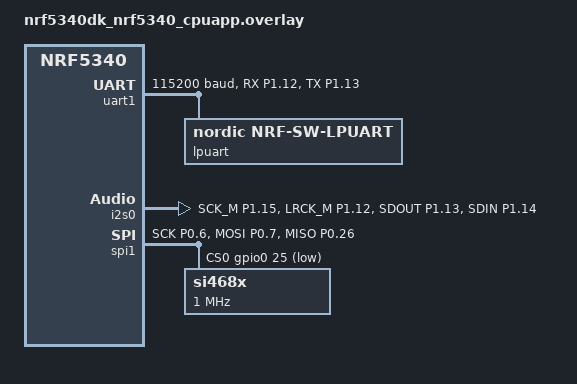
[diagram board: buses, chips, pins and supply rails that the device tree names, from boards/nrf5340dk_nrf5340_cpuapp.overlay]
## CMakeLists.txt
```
cmake_minimum_required(VERSION 3.21)

list(APPEND EXTRA_ZEPHYR_MODULES
  ${CMAKE_CURRENT_SOURCE_DIR}/../si468x_driver_module
)

find_package(Zephyr REQUIRED HINTS $ENV{ZEPHYR_BASE})
project(dab_ble_radio LANGUAGES C)

target_sources(app PRIVATE src/main.c)
```

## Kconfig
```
menu "Zephyr"
source "Kconfig.zephyr"
endmenu

config RADIO
    bool "Enable the use of radio modules"

# module = APP
# module-str = APP
# source "subsys/logging/Kconfig.template.log_config"
```

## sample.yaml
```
sample:
  description: Low Power UART sample
  name: Low Power UART

common:
  tags: ci_build sysbuild ci_samples_peripheral_lpuart

tests:
  sample.peripheral.lpuart:
    sysbuild: true
    platform_allow:
      - nrf52dk/nrf52832
      - nrf52833dk/nrf52833
      - nrf52840dk/nrf52840
      - nrf9160dk/nrf9160/ns
      - nrf5340dk/nrf5340/cpuapp
      - nrf21540dk/nrf52840
      - nrf54l15dk/nrf54l15/cpuapp
    integration_platforms:
      - nrf52dk/nrf52832
      - nrf52833dk/nrf52833
      - nrf52840dk/nrf52840
      - nrf9160dk/nrf9160/ns
      - nrf5340dk/nrf5340/cpuapp
      - nrf21540dk/nrf52840
      - nrf54l15dk/nrf54l15/cpuapp
    platform_exclude: native_sim
    tags: ppk_power_measure
    harness: pytest
    harness_config:
      fixture: gpio_loopback
      pytest_root:
        - "${CUSTOM_ROOT_TEST_DIR}/test_measure_power_consumption.py::test_measure_and_data_dump_power_consumption_lpuart"
    timeout: 90
  sample.peripheral.lpuart.debug:
    sysbuild: true
    platform_allow:
      - nrf52833dk/nrf52833
      - nrf52840dk/nrf52840
      - nrf9160dk/nrf9160/ns
      - nrf5340dk/nrf5340/cpuapp
      - nrf21540dk/nrf52840
      - nrf54l15dk/nrf54l15/cpuapp
    integration_platforms:
      - nrf52840dk/nrf52840
    extra_configs:
      - CONFIG_ASSERT=n
      - CONFIG_CONSOLE=n
      - CONFIG_UART_CONSOLE=n
      - CONFIG_LOG=n
      - CONFIG_NRF_SW_LPUART_LOG_LEVEL_DBG=n
    harness: console
    harness_config:
      fixture: gpio_loopback
      type: multi_line
      ordered: true
      regex:
        - ".*app: ASYNC Tx sent 5 bytes"
        - ".*app: ASYNC Received data 5 bytes"
        - ".*app: ASYNC Received data 1 bytes"
        - ".*app: ASYNC Tx sent 5 bytes"
        - ".*app: ASYNC Received data 5 bytes"
        - ".*app: ASYNC Received data 1 bytes"
        - ".*app: ASYNC Tx sent 5 bytes"
        - ".*app: ASYNC Received data 5 bytes"
  sample.peripheral.lpuart_int_driven:
    sysbuild: true
    extra_configs:
      - CONFIG_NRF_SW_LPUART_INT_DRIVEN=y
    integration_platforms:
      - nrf52dk/nrf52832
      - nrf52833dk/nrf52833
      - nrf52840dk/nrf52840
      - nrf9160dk/nrf9160/ns
      - nrf5340dk/nrf5340/cpuapp
      - nrf21540dk/nrf52840
      - nrf54l15dk/nrf54l15/cpuapp
    platform_allow: nrf52dk/nrf52832 nrf52833dk/nrf52833 nrf52840dk/nrf52840 nrf9160dk/nrf9160/ns
      nrf5340dk/nrf5340/cpuapp nrf21540dk/nrf52840 nrf54l15dk/nrf54l15/cpuapp
    tags: ppk_power_measure
    harness: pytest
    harness_config:
      fixture: gpio_loopback
      pytest_root:
        - "${CUSTOM_ROOT_TEST_DIR}/test_measure_power_consumption.py::test_measure_and_data_dump_power_consumption_lpuart"
    timeout: 90
  sample.peripheral.lpuart_int_driven.debug:
    sysbuild: true
    extra_configs:
      - CONFIG_NRF_SW_LPUART_INT_DRIVEN=y
      - CONFIG_ASSERT=y
      - CONFIG_CONSOLE=y
      - CONFIG_UART_CONSOLE=y
      - CONFIG_LOG=y
      - CONFIG_NRF_SW_LPUART_LOG_LEVEL_DBG=y
    integration_platforms:
      - nrf52dk/nrf52832
      - nrf52833dk/nrf52833
      - nrf52840dk/nrf52840
      - nrf9160dk/nrf9160/ns
      - nrf5340dk/nrf5340/cpuapp
      - nrf21540dk/nrf52840
      - nrf54l15dk/nrf54l15/cpuapp
    platform_allow: nrf52dk/nrf52832 nrf52833dk/nrf52833 nrf52840dk/nrf52840 nrf9160dk/nrf9160/ns
      nrf5340dk/nrf5340/cpuapp nrf21540dk/nrf52840 nrf54l15dk/nrf54l15/cpuapp
    harness: console
    harness_config:
      fixture: gpio_loopback
      type: multi_line
      ordered: true
      regex:
        - ".*app: IRQ Tx sent 5 bytes"
        - ".*app: IRQ Received data 5 bytes"
        - ".*app: IRQ Received data 1 bytes"
        - ".*app: IRQ Tx sent 5 bytes"
        - ".*app: IRQ Received data 5 bytes"
        - ".*app: IRQ Received data 1 bytes"
        - ".*app: IRQ Tx sent 5 bytes"
        - ".*app: IRQ Received data 5 bytes"
```

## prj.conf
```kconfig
#
# Copyright (c) 2020 Nordic Semiconductor
#
# SPDX-License-Identifier: LicenseRef-Nordic-5-Clause
#
CONFIG_NRF_SW_LPUART=y

# Sample is showing low power capabilities of low power uart module thus
# console/logging uart is disabled.

# CONFIG_CONSOLE=y
CONFIG_UART_CONSOLE=y
CONFIG_I2S=y
CONFIG_GPIO=y
CONFIG_LOG=y

# For RADIO
CONFIG_RADIO=y
CONFIG_SI468X=y
CONFIG_SPI=y

# Configure heap for FIFO - should be more than enough
# TOTAL_SIZE = NUM_BLOCKS * BLOCK_SIZE
#   = 10 * (2 * 32 * sizeof(int16_t)) = 1280 ( < 4096)
CONFIG_HEAP_MEM_POOL_SIZE=4096

CONFIG_NCS_BOOT_BANNER=n
CONFIG_BOOT_BANNER_STRING="Fin's DAB RADIO"

CONFIG_CBPRINTF_FP_SUPPORT=y
CONFIG_RESET_ON_FATAL_ERROR=n
```

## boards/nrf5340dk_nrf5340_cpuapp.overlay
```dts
/* SPDX-License-Identifier: LicenseRef-Nordic-5-Clause */

&uart1 {
	status = "okay";
	current-speed = <115200>;

	pinctrl-0 = <&uart1_default_alt>;
	pinctrl-1 = <&uart1_sleep_alt>;
	pinctrl-names = "default", "sleep";
	lpuart: nrf-sw-lpuart {
		compatible = "nordic,nrf-sw-lpuart";
		status = "okay";
		req-pin = <46>;
		rdy-pin = <47>;
	};
};

&uart0 {
	disable-rx;
};

&uart0_default {
	/* Disconnect CTS and RTS lines from pins.
	 * This is a temporary workaround for increased current consumption
	 * observed on nRF5340 DKs only (~200 uA more on v0.9.0 and ~400 uA
	 * more on v2.0.0).
	 */
	group1 {
		psels = <NRF_PSEL(UART_TX, 0, 20)>,
			<NRF_PSEL_DISCONNECTED(UART_RTS)>;
	};
	group2 {
		psels = <NRF_PSEL(UART_RX, 0, 22)>,
			<NRF_PSEL_DISCONNECTED(UART_CTS)>;
	};
};

&gpiote {
	interrupts = <13 NRF_DEFAULT_IRQ_PRIORITY>;
};

&pinctrl {
	uart1_default_alt: uart1_default_alt {
		group1 {
			psels = <NRF_PSEL(UART_RX, 1, 12)>,
				<NRF_PSEL(UART_TX, 1, 13)>;
		};
	};

	uart1_sleep_alt: uart1_sleep_alt {
		group1 {
			psels = <NRF_PSEL(UART_RX, 1, 12)>,
				<NRF_PSEL(UART_TX, 1, 13)>;
			low-power-enable;
		};
	};

	i2c0_default_alt: i2c0_default_alt {
		group1 {
			psels = <NRF_PSEL(TWIM_SDA, 0, 25)>,
				<NRF_PSEL(TWIM_SCL, 0, 26)>;
		};
	};
	
	i2c0_sleep_alt: i2c0_sleep_alt {
		group1 {
			psels = <NRF_PSEL(TWIM_SDA, 0, 25)>,
				<NRF_PSEL(TWIM_SCL, 0, 26)>;
			low-power-enable;
		};
	};

	i2s0_default_alt: i2s0_default_alt {
		group1 {
			psels = <NRF_PSEL(I2S_SCK_M, 1, 15)>,
				<NRF_PSEL(I2S_LRCK_M, 1, 12)>,
				<NRF_PSEL(I2S_SDOUT, 1, 13)>,
				<NRF_PSEL(I2S_SDIN, 1, 14)>;
		};
	};
};

&clock {
	hfclkaudio-frequency = <11289600>;
};

i2s_tx: &i2s0 {
	status = "okay";
	pinctrl-0 = <&i2s0_default_alt>;
	pinctrl-names = "default";
	clock-source = "ACLK";
};

&spi1 {
    compatible = "nordic,nrf-spim";
	status = "okay";
	pinctrl-0 = <&spi1_default>;
	pinctrl-1 = <&spi1_sleep>;
	pinctrl-names = "default", "sleep";
	cs-gpios = <&gpio0 25 GPIO_ACTIVE_LOW>;

	si468x: si468x@0 {
		compatible = "zephyr,si468x";
		reg = <0>;
		spi-max-frequency = <1000000>; 
	};
};

// miso is using conflicting pin - see what I can change it to
&pinctrl {
	spi1_default: spi1_default {
		group1 {
				psels = <NRF_PSEL(SPIM_SCK, 0, 6)>,
						<NRF_PSEL(SPIM_MOSI, 0, 7)>,
						<NRF_PSEL(SPIM_MISO, 0, 26)>;
		};
	};

	spi1_sleep: spi1_sleep {
		group1 {
				psels = <NRF_PSEL(SPIM_SCK, 0, 6)>,
						<NRF_PSEL(SPIM_MOSI, 0, 7)>,
						<NRF_PSEL(SPIM_MISO, 0, 26)>;
				low-power-enable;
		};
	};
};
```

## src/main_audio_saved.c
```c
#include <string.h>
#include <nrf.h>
#include <zephyr/kernel.h>
#include <zephyr/device.h>
#include <zephyr/drivers/i2s.h>
#include <zephyr/drivers/gpio.h>
#include <zephyr/logging/log.h>

LOG_MODULE_REGISTER(i2s_transmission, LOG_LEVEL_DBG);

/* Prepare for 32 sample values */
#define NUM_SAMPLES 32

/* Sine Wave Sample */
static int16_t data_frame[NUM_SAMPLES] = {
	  6392,  12539,  18204,  23169,  27244,  30272,  32137,  32767,  32137,
	 30272,  27244,  23169,  18204,  12539,   6392,      0,  -6393, -12540,
	-18205, -23170, -27245, -30273, -32138, -32767, -32138, -30273, -27245,
	-23170, -18205, -12540,  -6393,     -1,
};

// In case transmission must be restarted or if data is not received in time
static int16_t zero_frame[2 * NUM_SAMPLES] = {
	0, 0, 0, 0, 0, 0, 0, 0, 0, 0, 0, 0, 0, 0, 0, 0,
	0, 0, 0, 0, 0, 0, 0, 0, 0, 0, 0, 0, 0, 0, 0, 0,
	0, 0, 0, 0, 0, 0, 0, 0, 0, 0, 0, 0, 0, 0, 0, 0,
	0, 0, 0, 0, 0, 0, 0, 0, 0, 0, 0, 0, 0, 0, 0, 0
};

/* The size of the memory block should be a multiple of data_frame size */
#define BLOCK_SIZE (2 * sizeof(data_frame))

/* The number of memory blocks in a slab has to be at least 2 per queue */
#define NUM_BLOCKS 6

/* Define a new Memory Slab which consists of NUM_BLOCKS blocks
   __________________________________________________________________________________________
  |    Block 0   |    Block 1   |    Block 2   |    Block 3   |    Block 4   |    Block 5   |
  |    0...31    |    0...31    |    0...31    |    0...31    |    0...31    |    0...31    |
  |______________|______________|______________|______________|______________|______________|
*/
static K_MEM_SLAB_DEFINE(mem_slab, BLOCK_SIZE, NUM_BLOCKS, NUM_SAMPLES);
void* mem_blocks;

/* Get I2S device from the devicetree */
const struct device *i2s_dev = DEVICE_DT_GET(DT_NODELABEL(i2s_tx));
struct i2s_config i2s_cfg;

/* FIFO for holding audio data to be sent to i2s tx */
static K_FIFO_DEFINE(rx_samples_fifo);
int fifo_count = 0;
#define NUM_AUDIO_BLOCKS_FIFO 2
typedef struct audio_data {
	void *fifo_reserved; // Required since FIFO's internal structure is that of a linked list
	int16_t data_buffer[NUM_SAMPLES * NUM_AUDIO_BLOCKS_FIFO];
} audio_data_t;

#define FIFO_MEM_SIZE 10
audio_data_t fifo_memory[FIFO_MEM_SIZE];
int idx_fifo_memory_write = 0;
int idx_fifo_memory_read = 0;

/* Semaphore tracking how many audio buffers we have to load into FIFO */
K_SEM_DEFINE(new_rx_audio_samps_sem, 0, 10);
int sem_value = 0;
int sem_total = 0;

// TODO remove
int big_count = 0;

bool i2s_init()
{
	if (!device_is_ready(i2s_dev)) {
		printk("%s is not ready\n", i2s_dev->name);
		return false;
	}

	/* Configure the I2S device */
	i2s_cfg.word_size = 16;
	i2s_cfg.channels = 2; // L + R channel
	i2s_cfg.format = I2S_FMT_DATA_FORMAT_I2S;
	i2s_cfg.options = I2S_OPT_BIT_CLK_MASTER | I2S_OPT_FRAME_CLK_MASTER;
	i2s_cfg.frame_clk_freq = 32000;
	i2s_cfg.mem_slab = &mem_slab;
	i2s_cfg.block_size = BLOCK_SIZE;
	i2s_cfg.timeout = 10000;
	int ret = i2s_configure(i2s_dev, I2S_DIR_TX, &i2s_cfg);
	if (ret < 0) {
		printk("Failed to configure the I2S stream: (%d)\n", ret);
		return false; 
	}

	/* Start the transmission of data */
	ret = i2s_trigger(i2s_dev, I2S_DIR_TX, I2S_TRIGGER_START);
	if (ret < 0) {
		printk("Failed to start the transmission: %d\n", ret);
		return false;
	}

	LOG_DBG("i2s transmission started\n");

	/* Write Data */
	// Attempt to pack buffer with dummy data to keep i2s interface fed
	ret = i2s_buf_write(i2s_dev, data_frame, sizeof(data_frame));
	if (ret < 0) {
		printk("Error: first i2s_write failed with %d\n", ret);
	}

	ret = i2s_buf_write(i2s_dev, data_frame, sizeof(data_frame));
	if (ret < 0) {
		printk("Error: first i2s_write failed with %d\n", ret);
	}

	ret = i2s_buf_write(i2s_dev, data_frame, sizeof(data_frame));
	if (ret < 0) {
		printk("Error: first i2s_write failed with %d\n", ret);
	}

	ret = i2s_buf_write(i2s_dev, data_frame, sizeof(data_frame));
	if (ret < 0) {
		printk("Error: first i2s_write failed with %d\n", ret);
	}
	LOG_DBG("Finished\n");
    return true;
}

void write_to_i2s_buffer()
{
	LOG_DBG("Inside\n");

	// Try configuring i2s in first time write_to_i2s_buffer is called
	/* Initialise i2s device */
	bool i2s_ret = i2s_init();

	LOG_DBG("Size of FIFO after initialising i2s = %d\n", fifo_count);
	if (!i2s_ret)
	{
		LOG_ERR("Failed to initialise i2s peripheral");
	}

	while (1)
	{
		// Get audio samples out of FIFO
		audio_data_t *rx_samp = k_malloc(sizeof(audio_data_t)); // Should be using k_aligned_alloc?
		rx_samp = k_fifo_get(&rx_samples_fifo, K_NO_WAIT);
		fifo_count--;

		int ret = i2s_buf_write(i2s_dev, &rx_samp->data_buffer, BLOCK_SIZE);

		if (ret < 0) {
			LOG_ERR("Error: i2s_write failed with %d\n", ret);
			
			// Attempt to restart i2s transmission
			i2s_trigger(i2s_dev, I2S_DIR_TX, I2S_TRIGGER_PREPARE);
			int ret = i2s_buf_write(i2s_dev, &zero_frame, BLOCK_SIZE);
			if (ret < 0) {
				LOG_ERR("Issue in restarting i2s transmission");
			}
		}

		// k_free(rx_samp);
	}
}
	
void audio_receive()
{
	LOG_DBG("inside");
	
	while(1)
	{
		// Place into FIFO if an input audio buffer is available
		k_sem_take(&new_rx_audio_samps_sem, K_FOREVER);
		sem_value -= 1;

		audio_data_t *rx_data = &fifo_memory[idx_fifo_memory_write];
		if (rx_data != NULL)
		{
			for(int i = 0; i < NUM_AUDIO_BLOCKS_FIFO * NUM_SAMPLES; i++)
			{
				rx_data->data_buffer[i] = big_count;
				big_count = (big_count + 1) % 10000;
			}

			k_fifo_put(&rx_samples_fifo, rx_data);
			idx_fifo_memory_write = (idx_fifo_memory_write + 1) % FIFO_MEM_SIZE;
			fifo_count++;
		}
	}
	LOG_DBG("exiting");
}
	
static void pack_fifo_isr(struct k_timer *dummy)
{
	k_sem_give(&new_rx_audio_samps_sem);
	sem_value += 1;
	sem_total += 1;
}

/* Timer for filling of FIFO buffer */
K_TIMER_DEFINE(fifo_fill_tmr, pack_fifo_isr, NULL);

K_THREAD_DEFINE(audio_receive_id, 1024, audio_receive, NULL, NULL, NULL, 4, 0, 0);
K_THREAD_DEFINE(write_i2s_buff_id, 1024, write_to_i2s_buffer, NULL, NULL, NULL, 3, 0, 3);
	
int main(void) {
	LOG_INF("Start of main");
	k_timer_start(&fifo_fill_tmr, K_USEC(0), K_USEC(1000));
}
```
